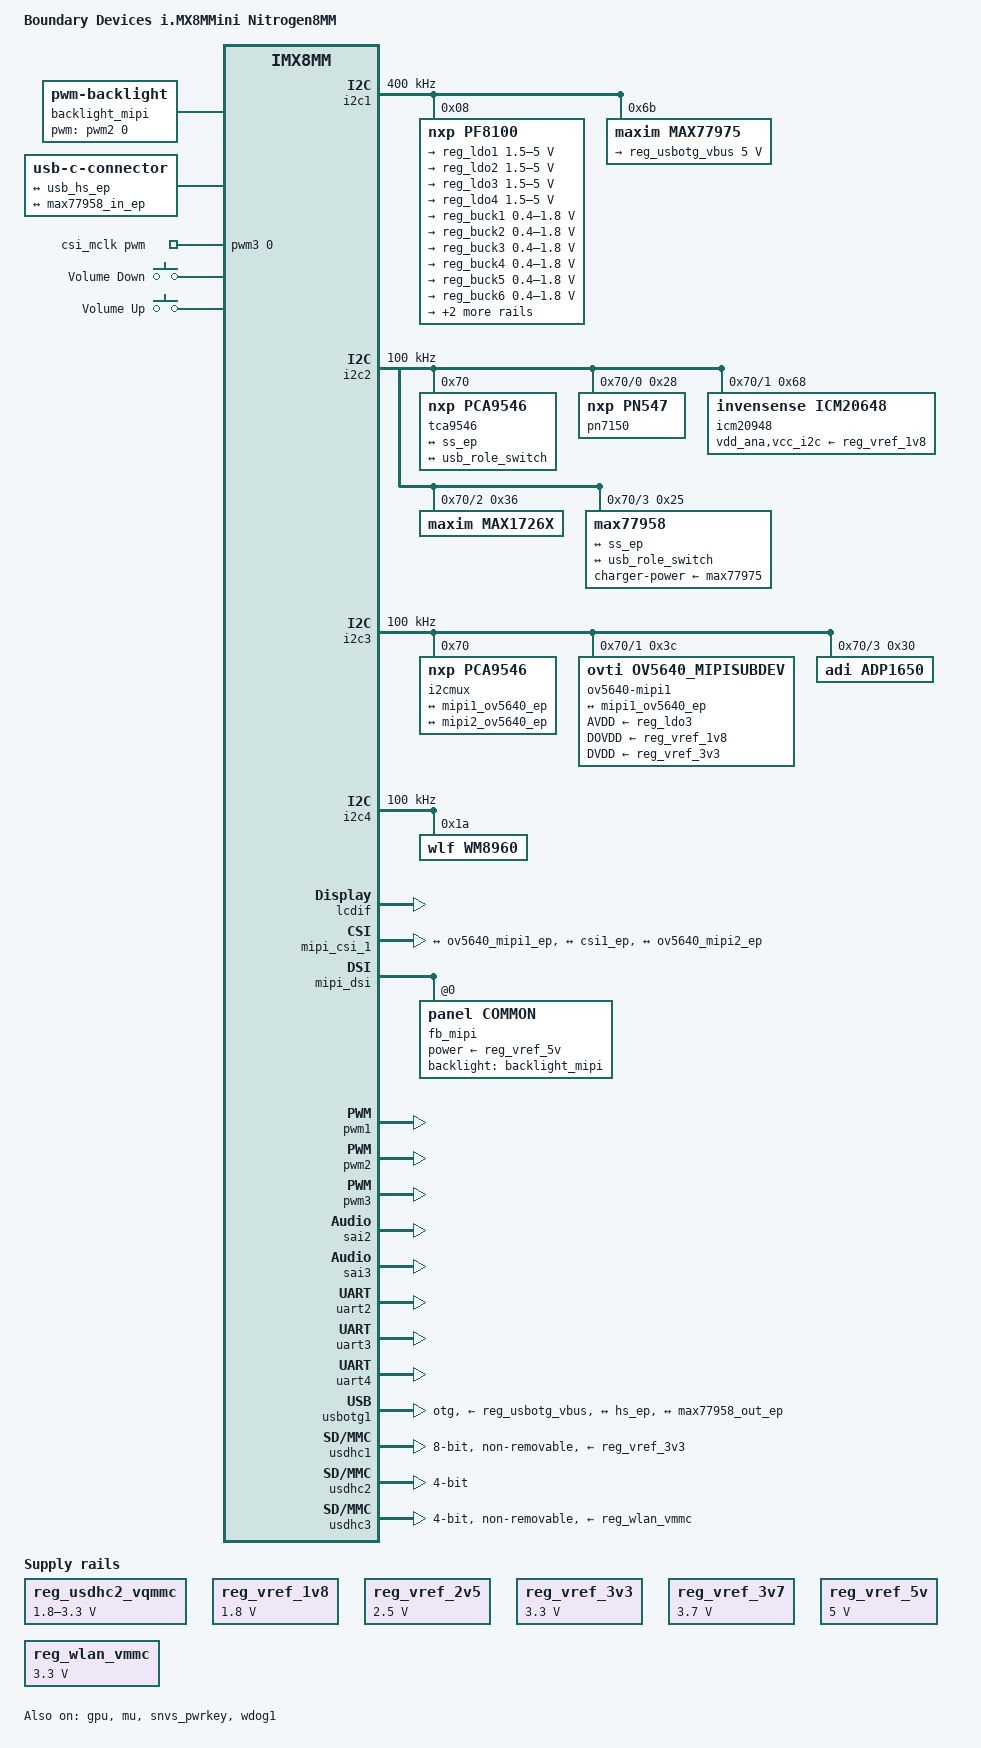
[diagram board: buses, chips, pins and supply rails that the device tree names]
// SPDX-License-Identifier: (GPL-2.0+ OR MIT)
/*
 * Copyright 2018 Boundary Devices
 */
#include "panel-ltk080a60a004t.dtsi"

&iomuxc {
	pinctrl-names = "default";
	pinctrl-0 = <&pinctrl_hog>;

	pinctrl_backlight_mipi: backlight-mipigrp {
		fsl,pins = <
#define GP_BACKLIGHT_MIPI_EN  <&gpio1 4 GPIO_ACTIVE_HIGH>
			MX8MMN(IOMUXC_GPIO1_IO04_GPIO1_IO4, 0x119)
		>;
	};

	pinctrl_bt_rfkill: bt-rfkillgrp {
		fsl,pins = <
#define GP_BT_RFKILL_RESET	<&gpio3 14 GPIO_ACTIVE_LOW>
			MX8MMN(IOMUXC_NAND_DQS_GPIO3_IO14, 0x119)
		>;
	};

	pinctrl_gpio_keys: gpio-keysgrp {
		fsl,pins = <
#define GP_GPIOKEY_VOL_DN	<&gpio4 29 GPIO_ACTIVE_LOW>
			MX8MMN(IOMUXC_SAI3_RXC_GPIO4_IO29, 0x1c3)
#define GP_GPIOKEY_VOL_UP	<&gpio4 28 GPIO_ACTIVE_LOW>
			MX8MMN(IOMUXC_SAI3_RXFS_GPIO4_IO28, 0x1c3)
		>;
	};

	pinctrl_hog: hoggrp {
		fsl,pins = <
			/* QCA9377 */
			MX8MMN(IOMUXC_SAI2_RXFS_GPIO4_IO21, 0x09)	/* pin 8, SDIO_INT_L */
			MX8MMN(IOMUXC_SAI5_MCLK_GPIO3_IO25, 0x09)	/* pin 38, CLK_REQ_OUT */
			MX8MMN(IOMUXC_SAI2_MCLK_GPIO4_IO27, 0x09)	/* pin 42, BT_UART_WH */

			MX8MMN(IOMUXC_SD1_STROBE_GPIO2_IO11, 0x09)	/* R160 */
			MX8MMN(IOMUXC_SD2_RESET_B_GPIO2_IO19, 0x09)	/* TP8 */
			MX8MMN(IOMUXC_SD2_WP_GPIO2_IO20, 0x09)		/* TP9 */
			MX8MMN(IOMUXC_SAI2_RXC_GPIO4_IO22, 0x09)	/* TP13 */
			MX8MMN(IOMUXC_GPIO1_IO11_GPIO1_IO11, 0x09)	/* TP18 */
			MX8MMN(IOMUXC_SAI5_RXD0_GPIO3_IO21, 0x09)	/* TP19 */
			MX8MMN(IOMUXC_SAI5_RXD1_GPIO3_IO22, 0x09)	/* TP31 */
		>;
	};

	pinctrl_i2c1: i2c1grp {
		fsl,pins = <
			MX8MMN(IOMUXC_I2C1_SCL_I2C1_SCL, 0x400001c3)
			MX8MMN(IOMUXC_I2C1_SDA_I2C1_SDA, 0x400001c3)
		>;
	};

	pinctrl_i2c1_1: i2c1_1grp {
		fsl,pins = <
#define GP_I2C1_SCL	<&gpio5 14 GPIO_OPEN_DRAIN>
			MX8MMN(IOMUXC_I2C1_SCL_GPIO5_IO14, 0x400001c3)
#define GP_I2C1_SDA	<&gpio5 15 GPIO_OPEN_DRAIN>
			MX8MMN(IOMUXC_I2C1_SDA_GPIO5_IO15, 0x400001c3)
		>;
	};

	pinctrl_i2c1_max77975: i2c1-max77975grp {
		fsl,pins = <
#define GPIRQ_MAX77975	<&gpio3 19 IRQ_TYPE_LEVEL_LOW>
			MX8MMN(IOMUXC_SAI5_RXFS_GPIO3_IO19, 0x1c9)
#define GP_DISABLE_BATT	<&gpio3 24 GPIO_ACTIVE_HIGH>
			MX8MMN(IOMUXC_SAI5_RXD3_GPIO3_IO24, 0x06)
#define GP_SUSPEND	<&gpio5 12 GPIO_ACTIVE_HIGH>
			MX8MMN(IOMUXC_ECSPI2_MISO_GPIO5_IO12, 0x06)
		>;
	};

	pinctrl_i2c1_pf8100: i2c1-pf8100grp {
		fsl,pins = <
#define GP_I2C1_PF8100_EWARN	<&gpio3 3 GPIO_ACTIVE_LOW>
			MX8MMN(IOMUXC_NAND_CE2_B_GPIO3_IO3, 0x149)
#define GP_I2C1_PF8100_FAULT	<&gpio3 4 GPIO_ACTIVE_LOW>
			MX8MMN(IOMUXC_NAND_CE3_B_GPIO3_IO4, 0x149)
		>;
	};

	pinctrl_i2c2: i2c2grp {
		fsl,pins = <
			MX8MMN(IOMUXC_I2C2_SCL_I2C2_SCL, 0x400001c3)
			MX8MMN(IOMUXC_I2C2_SDA_I2C2_SDA, 0x400001c3)
		>;
	};

	pinctrl_i2c2_1: i2c2_1grp {
		fsl,pins = <
#define GP_I2C2_SCL	<&gpio5 16 GPIO_OPEN_DRAIN>
			MX8MMN(IOMUXC_I2C2_SCL_GPIO5_IO16, 0x400001c3)
#define GP_I2C2_SDA	<&gpio5 17 GPIO_OPEN_DRAIN>
			MX8MMN(IOMUXC_I2C2_SDA_GPIO5_IO17, 0x400001c3)
		>;
	};

	pinctrl_i2c2_tca9546: i2c2-tca9546grp {
		fsl,pins = <
#define GP_I2C2_MUX_RESET	<&gpio5 11 GPIO_ACTIVE_LOW>
			MX8MMN(IOMUXC_ECSPI2_MOSI_GPIO5_IO11, 0x1c3)
		>;
	};

	pinctrl_i2c2a_pn7150: i2c2a-pn7150grp {
		fsl,pins = <
#define GP_EN_PN7150	<&gpio1 7 GPIO_ACTIVE_HIGH>
			MX8MMN(IOMUXC_GPIO1_IO07_GPIO1_IO7, 0x1c2)
#define GPIRQ_PN7150	<&gpio1 8 IRQ_TYPE_LEVEL_HIGH>
			MX8MMN(IOMUXC_GPIO1_IO08_GPIO1_IO8, 0x182)
		>;
	};

	pinctrl_i2c2b_icm_20948: i2c2b-icm-20948grp {
		fsl,pins = <
#define GPIRQ_ACCEL	<&gpio3 8 IRQ_TYPE_LEVEL_LOW>
			MX8MMN(IOMUXC_NAND_DATA02_GPIO3_IO8, 0x82)
		>;
	};

	pinctrl_i2c2c_max1726x: i2c2c-max1726xgrp {
		fsl,pins = <
#define GPIRQ_MAX1726X	<&gpio5 10 IRQ_TYPE_LEVEL_LOW>
			MX8MMN(IOMUXC_ECSPI2_SCLK_GPIO5_IO10, 0x1c3)
		>;
	};

	pinctrl_i2c2d_max77958: i2c2d-max77958grp {
		fsl,pins = <
#define GPIRQ_MAX77958	<&gpio3 5 IRQ_TYPE_LEVEL_LOW>
			MX8MMN(IOMUXC_NAND_CLE_GPIO3_IO5, 0x1c3)
		>;
	};

	pinctrl_i2c3: i2c3grp {
		fsl,pins = <
			MX8MMN(IOMUXC_I2C3_SCL_I2C3_SCL, 0x400001c3)
			MX8MMN(IOMUXC_I2C3_SDA_I2C3_SDA, 0x400001c3)
		>;
	};

	pinctrl_i2c3_1: i2c3_1grp {
		fsl,pins = <
#define GP_I2C3_SCL	<&gpio5 18 GPIO_OPEN_DRAIN>
			MX8MMN(IOMUXC_I2C3_SCL_GPIO5_IO18, 0x400001c3)
#define GP_I2C3_SDA	<&gpio5 19 GPIO_OPEN_DRAIN>
			MX8MMN(IOMUXC_I2C3_SDA_GPIO5_IO19, 0x400001c3)
		>;
	};

	pinctrl_i2c3_tca9546: i2c3-tca9546grp {
		fsl,pins = <
#define GP_I2C3_MUX_RESET	<&gpio5 13 GPIO_ACTIVE_LOW>
			MX8MMN(IOMUXC_ECSPI2_SS0_GPIO5_IO13, 0x1c3)
		>;
	};

	pinctrl_i2c3b_ov5640_mipi: i2c3b-ov5640-mipigrp {
		fsl,pins = <
#define GP_OV5640_1MIPI_POWER_DOWN	<&gpio3 9 GPIO_ACTIVE_HIGH>
			MX8MMN(IOMUXC_NAND_DATA03_GPIO3_IO9, 0x141)
#define GP_OV5640_1MIPI_RESET		<&gpio3 1 GPIO_ACTIVE_LOW>
			MX8MMN(IOMUXC_NAND_CE0_B_GPIO3_IO1, 0x101)
		>;
	};

	pinctrl_i2c3c_ov5640_mipi: i2c3c-ov5640-mipigrp {
		fsl,pins = <
#define GP_OV5640_2MIPI_POWER_DOWN	<&gpio3 16 GPIO_ACTIVE_HIGH>
			MX8MMN(IOMUXC_NAND_READY_B_GPIO3_IO16, 0x141)
#define GP_OV5640_2MIPI_RESET		<&gpio3 0 GPIO_ACTIVE_LOW>
			MX8MMN(IOMUXC_NAND_ALE_GPIO3_IO0, 0x101)
		>;
	};

	pinctrl_i2c3d_adp1650: i2c3d-adp1650grp {
		fsl,pins = <
#define GP_FLASH_EN		<&gpio1 10 GPIO_ACTIVE_HIGH>
			MX8MMN(IOMUXC_GPIO1_IO10_GPIO1_IO10, 0x1c3)
#define GP_TORCH_EN		<&gpio1 5 GPIO_ACTIVE_HIGH>
			MX8MMN(IOMUXC_GPIO1_IO05_GPIO1_IO5, 0x109)
		>;
	};

	pinctrl_i2c4: i2c4grp {
		fsl,pins = <
			MX8MMN(IOMUXC_I2C4_SCL_I2C4_SCL, 0x400001c3)
			MX8MMN(IOMUXC_I2C4_SDA_I2C4_SDA, 0x400001c3)
		>;
	};

	pinctrl_i2c4_1: i2c4_1grp {
		fsl,pins = <
#define GP_I2C4_SCL	<&gpio5 20 GPIO_OPEN_DRAIN>
			MX8MMN(IOMUXC_I2C4_SCL_GPIO5_IO20, 0x400001c3)
#define GP_I2C4_SDA	<&gpio5 21 GPIO_OPEN_DRAIN>
			MX8MMN(IOMUXC_I2C4_SDA_GPIO5_IO21, 0x400001c3)
		>;
	};

	pinctrl_mipi_ltk080a60a004t: mipi-ltk080a60a004tgrp {
		fsl,pins = <
#define GP_LTK08_MIPI_EN	<&gpio1 3 GPIO_ACTIVE_HIGH>
			MX8MMN(IOMUXC_GPIO1_IO03_GPIO1_IO3, 0x116)
		>;
	};

	pinctrl_pwm1: pwm1grp {
		fsl,pins = <
			MX8MMN(IOMUXC_SPDIF_EXT_CLK_PWM1_OUT, 0x16)
		>;
	};

	pinctrl_pwm2: pwm2grp {
		fsl,pins = <
			MX8MMN(IOMUXC_SPDIF_RX_PWM2_OUT, 0x16)
		>;
	};

	pinctrl_pwm3: pwm3grp {
		fsl,pins = <
			MX8MMN(IOMUXC_SPDIF_TX_PWM3_OUT, 0x16)
		>;
	};

	/* For EC21-ALCC modem */
	pinctrl_reg_3p7v: reg-3p7vgrp {
		fsl,pins = <
#define GP_REG_3P7V	<&gpio4 20 GPIO_ACTIVE_HIGH>
			MX8MMN(IOMUXC_SAI1_MCLK_GPIO4_IO20, 0x116)
		>;
	};

	pinctrl_reg_5v: reg_5vgrp {
		fsl,pins = <
#define GP_REG_5V_EN	<&gpio3 15 GPIO_ACTIVE_HIGH>
			MX8MMN(IOMUXC_NAND_RE_B_GPIO3_IO15, 0x16)
		>;
	};

	pinctrl_reg_usdhc2_vqmmc: reg_usdhc2_vqmmcgrp {
		fsl,pins = <
#define GP_USDHC2_VSEL	<&gpio3 2 GPIO_ACTIVE_HIGH>
			MX8MMN(IOMUXC_NAND_CE1_B_GPIO3_IO2, 0x16)
		>;
	};

	pinctrl_reg_wlan_vmmc: reg-wlan-vmmcgrp {
		fsl,pins = <
#define GP_REG_WLAN_VMMC	<&gpio3 20 GPIO_ACTIVE_HIGH>
			MX8MMN(IOMUXC_SAI5_RXC_GPIO3_IO20, 0x16)
		>;
	};

	pinctrl_sai2: sai2grp {
		fsl,pins = <
			/* Bluetooth PCM */
			MX8MMN(IOMUXC_SAI2_TXFS_SAI2_TX_SYNC, 0xd6)
			MX8MMN(IOMUXC_SAI2_TXC_SAI2_TX_BCLK, 0xd6)
			MX8MMN(IOMUXC_SAI2_TXD0_SAI2_TX_DATA0, 0xd6)
			MX8MMN(IOMUXC_SAI2_RXD0_SAI2_RX_DATA0, 0xd6)
		>;
	};

	pinctrl_sai3: sai3grp {
		fsl,pins = <
			/* WM8960 */
			MX8MMN(IOMUXC_SAI3_MCLK_SAI3_MCLK, 0xd6)
			MX8MMN(IOMUXC_SAI3_TXFS_SAI3_TX_SYNC, 0xd6)
			MX8MMN(IOMUXC_SAI3_TXC_SAI3_TX_BCLK, 0xd6)
			MX8MMN(IOMUXC_SAI3_TXD_SAI3_TX_DATA0, 0xd6)
			MX8MMN(IOMUXC_SAI3_RXD_SAI3_RX_DATA0, 0xd6)
		>;
	};

	pinctrl_sound_wm8960: sound-wm8960grp {
		fsl,pins = <
#define GP_WM8960_HP_DET		<&gpio1 1 GPIO_ACTIVE_HIGH>
			MX8MMN(IOMUXC_GPIO1_IO01_GPIO1_IO1, 0x80)
		>;
	};

	pinctrl_stusb4500: stusb4500grp {
		fsl,pins = <
#define GP_STUSB_ATTACH	<&gpio3 23 GPIO_ACTIVE_HIGH>
			MX8MMN(IOMUXC_SAI5_RXD2_GPIO3_IO23, 0x04)
#define GP_STUSB_ALERT	<&gpio1 15 GPIO_ACTIVE_HIGH>
			MX8MMN(IOMUXC_GPIO1_IO15_GPIO1_IO15, 0x04)
#define GP_STUSB_RESET	<&gpio1 14 GPIO_ACTIVE_HIGH>
			MX8MMN(IOMUXC_GPIO1_IO14_GPIO1_IO14, 0x04)
		>;
	};

	pinctrl_ts_gt911: ts-gt911grp {
		fsl,pins = <
#define GPIRQ_GT911		<&gpio3 6 IRQ_TYPE_LEVEL_HIGH>
#define GP_GT911_IRQ 		<&gpio3 6 GPIO_ACTIVE_HIGH>
			MX8MMN(IOMUXC_NAND_DATA00_GPIO3_IO6, 0x1d6)
			/* driver writes levels, instead of active/inactive */
#define GP_GT911_RESET		<&gpio3 7 GPIO_ACTIVE_HIGH>
			MX8MMN(IOMUXC_NAND_DATA01_GPIO3_IO7, 0x149)
		>;
	};

	pinctrl_uart2: uart2grp {
		fsl,pins = <
			MX8MMN(IOMUXC_UART2_RXD_UART2_DCE_RX, 0x140)
			MX8MMN(IOMUXC_UART2_TXD_UART2_DCE_TX, 0x140)
		>;
	};

	pinctrl_uart3: uart3grp {
		fsl,pins = <
			MX8MMN(IOMUXC_ECSPI1_SCLK_UART3_DCE_RX, 0x140)
			MX8MMN(IOMUXC_ECSPI1_MOSI_UART3_DCE_TX, 0x140)
			MX8MMN(IOMUXC_ECSPI1_SS0_UART3_DCE_RTS_B, 0x140)
			MX8MMN(IOMUXC_ECSPI1_MISO_UART3_DCE_CTS_B, 0x140)
		>;
	};

	pinctrl_uart4: uart4grp {
		fsl,pins = <
			MX8MMN(IOMUXC_UART4_RXD_UART4_DCE_RX, 0x140)
			MX8MMN(IOMUXC_UART4_TXD_UART4_DCE_TX, 0x140)
		>;
	};

	pinctrl_usbotg1: usbotg1grp {
		fsl,pins = <
			MX8MMN(IOMUXC_GPIO1_IO12_USB1_OTG_PWR, 0x16)
			MX8MMN(IOMUXC_GPIO1_IO13_USB1_OTG_OC, 0x156)
		>;
	};

	pinctrl_usdhc1: usdhc1grp {
		fsl,pins = <
			MX8MMN(IOMUXC_SD1_CLK_USDHC1_CLK, 0x190)
			MX8MMN(IOMUXC_SD1_CMD_USDHC1_CMD, 0x1d0)
			MX8MMN(IOMUXC_SD1_DATA0_USDHC1_DATA0, 0x1d0)
			MX8MMN(IOMUXC_SD1_DATA1_USDHC1_DATA1, 0x1d0)
			MX8MMN(IOMUXC_SD1_DATA2_USDHC1_DATA2, 0x1d0)
			MX8MMN(IOMUXC_SD1_DATA3_USDHC1_DATA3, 0x1d0)
			MX8MMN(IOMUXC_SD1_DATA4_USDHC1_DATA4, 0x1d0)
			MX8MMN(IOMUXC_SD1_DATA5_USDHC1_DATA5, 0x1d0)
			MX8MMN(IOMUXC_SD1_DATA6_USDHC1_DATA6, 0x1d0)
			MX8MMN(IOMUXC_SD1_DATA7_USDHC1_DATA7, 0x1d0)
#define GP_EMMC_RESET		<&gpio2 10 GPIO_ACTIVE_LOW>
			MX8MMN(IOMUXC_SD1_RESET_B_GPIO2_IO10, 0x141)
		>;
	};

	pinctrl_usdhc1_100mhz: usdhc1grp100mhz {
		fsl,pins = <
			MX8MMN(IOMUXC_SD1_CLK_USDHC1_CLK, 0x194)
			MX8MMN(IOMUXC_SD1_CMD_USDHC1_CMD, 0x1d4)
			MX8MMN(IOMUXC_SD1_DATA0_USDHC1_DATA0, 0x1d4)
			MX8MMN(IOMUXC_SD1_DATA1_USDHC1_DATA1, 0x1d4)
			MX8MMN(IOMUXC_SD1_DATA2_USDHC1_DATA2, 0x1d4)
			MX8MMN(IOMUXC_SD1_DATA3_USDHC1_DATA3, 0x1d4)
			MX8MMN(IOMUXC_SD1_DATA4_USDHC1_DATA4, 0x1d4)
			MX8MMN(IOMUXC_SD1_DATA5_USDHC1_DATA5, 0x1d4)
			MX8MMN(IOMUXC_SD1_DATA6_USDHC1_DATA6, 0x1d4)
			MX8MMN(IOMUXC_SD1_DATA7_USDHC1_DATA7, 0x1d4)
		>;
	};

	pinctrl_usdhc1_200mhz: usdhc1grp200mhz {
		fsl,pins = <
			MX8MMN(IOMUXC_SD1_CLK_USDHC1_CLK, 0x196)
			MX8MMN(IOMUXC_SD1_CMD_USDHC1_CMD, 0x1d6)
			MX8MMN(IOMUXC_SD1_DATA0_USDHC1_DATA0, 0x1d6)
			MX8MMN(IOMUXC_SD1_DATA1_USDHC1_DATA1, 0x1d6)
			MX8MMN(IOMUXC_SD1_DATA2_USDHC1_DATA2, 0x1d6)
			MX8MMN(IOMUXC_SD1_DATA3_USDHC1_DATA3, 0x1d6)
			MX8MMN(IOMUXC_SD1_DATA4_USDHC1_DATA4, 0x1d6)
			MX8MMN(IOMUXC_SD1_DATA5_USDHC1_DATA5, 0x1d6)
			MX8MMN(IOMUXC_SD1_DATA6_USDHC1_DATA6, 0x1d6)
			MX8MMN(IOMUXC_SD1_DATA7_USDHC1_DATA7, 0x1d6)
		>;
	};

	pinctrl_usdhc2: usdhc2grp {
		fsl,pins = <
			MX8MMN(IOMUXC_SD2_CLK_USDHC2_CLK, 0x190)
			MX8MMN(IOMUXC_SD2_CMD_USDHC2_CMD, 0x1d0)
			MX8MMN(IOMUXC_SD2_DATA0_USDHC2_DATA0, 0x1d0)
			MX8MMN(IOMUXC_SD2_DATA1_USDHC2_DATA1, 0x1d0)
			MX8MMN(IOMUXC_SD2_DATA2_USDHC2_DATA2, 0x1d0)
			MX8MMN(IOMUXC_SD2_DATA3_USDHC2_DATA3, 0x1d0)
#define GP_USDHC2_CD	<&gpio2 12 GPIO_ACTIVE_LOW>
			MX8MMN(IOMUXC_SD2_CD_B_GPIO2_IO12, 0x1c4)
		>;
	};

	pinctrl_usdhc2_100mhz: usdhc2grp100mhz {
		fsl,pins = <
			MX8MMN(IOMUXC_SD2_CLK_USDHC2_CLK, 0x194)
			MX8MMN(IOMUXC_SD2_CMD_USDHC2_CMD, 0x1d4)
			MX8MMN(IOMUXC_SD2_DATA0_USDHC2_DATA0, 0x1d4)
			MX8MMN(IOMUXC_SD2_DATA1_USDHC2_DATA1, 0x1d4)
			MX8MMN(IOMUXC_SD2_DATA2_USDHC2_DATA2, 0x1d4)
			MX8MMN(IOMUXC_SD2_DATA3_USDHC2_DATA3, 0x1d4)
		>;
	};

	pinctrl_usdhc2_200mhz: usdhc2grp200mhz {
		fsl,pins = <
			MX8MMN(IOMUXC_SD2_CLK_USDHC2_CLK, 0x196)
			MX8MMN(IOMUXC_SD2_CMD_USDHC2_CMD, 0x1d6)
			MX8MMN(IOMUXC_SD2_DATA0_USDHC2_DATA0, 0x1d6)
			MX8MMN(IOMUXC_SD2_DATA1_USDHC2_DATA1, 0x1d6)
			MX8MMN(IOMUXC_SD2_DATA2_USDHC2_DATA2, 0x1d6)
			MX8MMN(IOMUXC_SD2_DATA3_USDHC2_DATA3, 0x1d6)
		>;
	};

	pinctrl_usdhc3: usdhc3grp {
		fsl,pins = <
			MX8MMN(IOMUXC_NAND_WE_B_USDHC3_CLK, 0x190)
			MX8MMN(IOMUXC_NAND_WP_B_USDHC3_CMD, 0x1d0)
			MX8MMN(IOMUXC_NAND_DATA04_USDHC3_DATA0, 0x1d0)
			MX8MMN(IOMUXC_NAND_DATA05_USDHC3_DATA1, 0x1d0)
			MX8MMN(IOMUXC_NAND_DATA06_USDHC3_DATA2, 0x1d0)
			MX8MMN(IOMUXC_NAND_DATA07_USDHC3_DATA3, 0x1d0)
			/* Bluetooth slow clock */
			MX8MMN(IOMUXC_GPIO1_IO00_ANAMIX_REF_CLK_32K, 0x03)
		>;
	};

	pinctrl_usdhc3_100mhz: usdhc3grp100mhz {
		fsl,pins = <
			MX8MMN(IOMUXC_NAND_WE_B_USDHC3_CLK, 0x194)
			MX8MMN(IOMUXC_NAND_WP_B_USDHC3_CMD, 0x1d4)
			MX8MMN(IOMUXC_NAND_DATA04_USDHC3_DATA0, 0x1d4)
			MX8MMN(IOMUXC_NAND_DATA05_USDHC3_DATA1, 0x1d4)
			MX8MMN(IOMUXC_NAND_DATA06_USDHC3_DATA2, 0x1d4)
			MX8MMN(IOMUXC_NAND_DATA07_USDHC3_DATA3, 0x1d4)
		>;
	};

	pinctrl_usdhc3_200mhz: usdhc3grp200mhz {
		fsl,pins = <
			MX8MMN(IOMUXC_NAND_WE_B_USDHC3_CLK, 0x196)
			MX8MMN(IOMUXC_NAND_WP_B_USDHC3_CMD, 0x1d6)
			MX8MMN(IOMUXC_NAND_DATA04_USDHC3_DATA0, 0x1d6)
			MX8MMN(IOMUXC_NAND_DATA05_USDHC3_DATA1, 0x1d6)
			MX8MMN(IOMUXC_NAND_DATA06_USDHC3_DATA2, 0x1d6)
			MX8MMN(IOMUXC_NAND_DATA07_USDHC3_DATA3, 0x1d6)
		>;
	};

	pinctrl_wwan_rfkill: wwan-rfkillgrp {
		fsl,pins = <
			/* EC21 - Modem pins */
#define GP_EC21_RESET		<&gpio4 10 (GPIO_OPEN_DRAIN | GPIO_ACTIVE_LOW)>
			MX8MMN(IOMUXC_SAI1_TXFS_GPIO4_IO10, 0x140)
#define GP_EC21_USB_BOOT	<&gpio4 11 GPIO_ACTIVE_HIGH>
			MX8MMN(IOMUXC_SAI1_TXC_GPIO4_IO11 , 0x100)
#define GP_EC21_POWER_KEY	<&gpio4 18 GPIO_OPEN_DRAIN>
			MX8MMN(IOMUXC_SAI1_TXD6_GPIO4_IO18, 0x140)
#define GP_EC21_USIM_DETECT	<&gpio4 17 GPIO_ACTIVE_LOW>
			MX8MMN(IOMUXC_SAI1_TXD5_GPIO4_IO17, 0x100)
#define GP_EC21_WAKE_UP		<&gpio4 15 GPIO_ACTIVE_LOW>
			MX8MMN(IOMUXC_SAI1_TXD3_GPIO4_IO15, 0x100)
#define GP_EC21_AP_READY	<&gpio4 14 GPIO_ACTIVE_LOW>
			MX8MMN(IOMUXC_SAI1_TXD2_GPIO4_IO14, 0x100)
#define GP_EC21_ACTIVE_STATUS	<&gpio4 19 GPIO_ACTIVE_LOW>
			MX8MMN(IOMUXC_SAI1_TXD7_GPIO4_IO19, 0x1c0)
#define GP_EC21_NET_STAT	<&gpio4 12 GPIO_ACTIVE_HIGH>
			MX8MMN(IOMUXC_SAI1_TXD0_GPIO4_IO12, 0x80)
#define GP_EC21_NET_MODE	<&gpio4 13 GPIO_ACTIVE_HIGH>
			MX8MMN(IOMUXC_SAI1_TXD1_GPIO4_IO13, 0x80)
#define GP_EC21_RI		<&gpio4 16 GPIO_ACTIVE_HIGH>
			MX8MMN(IOMUXC_SAI1_TXD4_GPIO4_IO16, 0x80)
		>;
	};

	pinctrl_wdog: wdoggrp {
		fsl,pins = <
			MX8MMN(IOMUXC_GPIO1_IO02_WDOG1_WDOG_B, 0x140)
		>;
	};
};

/ {
	model = "Boundary Devices i.MX8MMini Nitrogen8MM";
	compatible = "boundary,imx8mm-nitrogen8mm", "fsl,imx8mm";

	aliases {
		a53 = &A53_0;
		backlight_mipi = &backlight_mipi;
		fb_mipi = &fb_mipi;
		lcdif = &lcdif;
		mipi = &fb_mipi;
		mipi_dsi = &mipi_dsi;
		pwm_mipi = &pwm2;
		pwm_mipi2 = &pwm1;
		t_mipi = &t_mipi;
		ts_goodix = &ts_goodix;
	};

	backlight_mipi: backlight-mipi {
		brightness-levels = <0 1 2 3 4 5 6 7 8 9 10>;
		compatible = "pwm-backlight";
		default-brightness-level = <8>;
		display = <&display_subsystem>;
		enable-gpios = GP_BACKLIGHT_MIPI_EN;
		pinctrl-names = "default";
		pinctrl-0 = <&pinctrl_backlight_mipi>;
		pwms = <&pwm2 0 30000>;		/* 33.3 Khz */
		status = "okay";
	};

	bt-rfkill {
		compatible = "net,rfkill-gpio";
		pinctrl-names = "default";
		pinctrl-0 = <&pinctrl_bt_rfkill>;
		name = "bt-rfkill";
		type = <2>; /* Bluetooth */
		reset-gpios = GP_BT_RFKILL_RESET;
		status = "okay";
	};

	connector {
		compatible = "usb-c-connector";
		label = "USB-C";
		data-role = "dual";

		ports {
			#address-cells = <1>;
			#size-cells = <0>;

			port@0 {
				reg = <0>;
				hs_ep: endpoint {
					remote-endpoint = <&usb_hs_ep>;
				};
			};

			port@1 {
				reg = <1>;
				ss_ep: endpoint {
					remote-endpoint = <&max77958_in_ep>;
				};
			};
		};
	};

	csi_mclk: csi-mclk {
		compatible = "pwm-clock";
		#clock-cells = <0>;
		clock-frequency = <20000000>;
		clock-output-names = "csi_mclk";
		pwms = <&pwm3 0 50>; /* 1 / 50 ns = 20 MHz */
	};

	gpio-keys {
		compatible = "gpio-keys";
		pinctrl-names = "default";
		pinctrl-0 = <&pinctrl_gpio_keys>;

		volume-down {
			label = "Volume Down";
			gpios = GP_GPIOKEY_VOL_DN;
			linux,code = <KEY_VOLUMEDOWN>;
		};

		volume-up {
			label = "Volume Up";
			gpios = GP_GPIOKEY_VOL_UP;
			linux,code = <KEY_VOLUMEUP>;
		};
	};

	reg_usdhc2_vqmmc: regulator-usdhc2-vqmmc {
		compatible = "regulator-gpio";
		pinctrl-names = "default";
		pinctrl-0 = <&pinctrl_reg_usdhc2_vqmmc>;
		regulator-name = "reg_sd2_vsel";
		regulator-min-microvolt = <1800000>;
		regulator-max-microvolt = <3300000>;
		regulator-type = "voltage";
		regulator-boot-on;
		regulator-always-on;
		gpios = GP_USDHC2_VSEL;
		states = <1800000 0x1
			  3300000 0x0>;
	};

	reg_vref_1v8: regulator-vref-1v8 {
		compatible = "regulator-fixed";
		regulator-name = "vref-1v8";
		regulator-min-microvolt = <1800000>;
		regulator-max-microvolt = <1800000>;
	};

	reg_vref_2v5: regulator-vref-2v5 {
		compatible = "regulator-fixed";
		regulator-name = "vref-2v5";
		regulator-min-microvolt = <2500000>;
		regulator-max-microvolt = <2500000>;
	};

	reg_vref_3v3: regulator-vref-3v3 {
		compatible = "regulator-fixed";
		regulator-name = "vref-3v3";
		regulator-min-microvolt = <3300000>;
		regulator-max-microvolt = <3300000>;
	};

	reg_vref_3v7: regulator-vref-3v7 {
		compatible = "regulator-fixed";
		pinctrl-names = "default";
		pinctrl-0 = <&pinctrl_reg_3p7v>;
		regulator-name = "ec21_3v7";
		regulator-min-microvolt = <3700000>;
		regulator-max-microvolt = <3700000>;
		startup-delay-us = <60000>;
		gpio = GP_REG_3P7V;
		enable-active-high;
	};

	reg_vref_5v: regulator-vref-5v {
		compatible = "regulator-fixed";
		pinctrl-names = "default";
		pinctrl-0 = <&pinctrl_reg_5v>;
		regulator-name = "vref-5v";
		regulator-min-microvolt = <5000000>;
		regulator-max-microvolt = <5000000>;
		gpio = GP_REG_5V_EN;
		enable-active-high;
		regulator-always-on;
	};

	reg_wlan_vmmc: regulator-wlan-vmmc {
		compatible = "regulator-fixed";
		pinctrl-names = "default";
		pinctrl-0 = <&pinctrl_reg_wlan_vmmc>;
		regulator-name = "reg_wlan_vmmc";
		regulator-min-microvolt = <3300000>;
		regulator-max-microvolt = <3300000>;
		gpio = GP_REG_WLAN_VMMC;
		startup-delay-us = <70000>;
		enable-active-high;
	};

	sound-wm8960 {
		audio-codec = <&wm8960>;
		audio-cpu = <&sai3>;
		audio-routing =
			"Headphone Jack", "HP_L",
			"Headphone Jack", "HP_R",
			"Ext Spk", "SPK_LP",
			"Ext Spk", "SPK_LN",
			"Ext Spk", "SPK_RP",
			"Ext Spk", "SPK_RN",
			"LINPUT1", "Mic Jack",
			"Mic Jack", "MICB",
			"RINPUT1", "Main MIC",
			"Main MIC", "MICB";
		codec-master;
		compatible = "fsl,imx-audio-wm8960";
		hp-det = <2 0>;
		hp-det-gpio = GP_WM8960_HP_DET;
		mic-det-gpio = GP_WM8960_HP_DET;
		model = "wm8960-audio";
		pinctrl-names = "default";
		pinctrl-0 = <&pinctrl_sound_wm8960>;
	};

	wwan_rfkill: wwan-rfkill {
		active-status-gpios = GP_EC21_ACTIVE_STATUS;
		compatible = "net,rfkill-gpio";
#if 1
		low-gpios = GP_EC21_USB_BOOT;
		high-gpios = GP_EC21_USIM_DETECT,GP_EC21_WAKE_UP,GP_EC21_AP_READY;
#else
		high-gpios = GP_EC21_USB_BOOT,GP_EC21_USIM_DETECT,GP_EC21_WAKE_UP,GP_EC21_AP_READY;
#endif
		name = "wwan-rfkill";
		pinctrl-names = "default";
		pinctrl-0 = <&pinctrl_wwan_rfkill>;
		power-key-low-off = <700>;
		power-key-low-on = <550>;
		power-key-gpios = GP_EC21_POWER_KEY;
		reset-gpios = GP_EC21_RESET;
		status = "okay";
		type = <5>;     /* WWAN */
		vdd-supply = <&reg_vref_3v7>;
	};
};

&A53_0 {
	cpu-supply = <&reg_buck3>;
};

&gpu {
	status = "okay";
};

&i2c1 {
	clock-frequency = <400000>;
	pinctrl-names = "default", "gpio";
	pinctrl-0 = <&pinctrl_i2c1>;
	pinctrl-1 = <&pinctrl_i2c1_1>;
	scl-gpios = GP_I2C1_SCL;
	sda-gpios = GP_I2C1_SDA;
	status = "okay";

	pf8100@8 {
		compatible = "nxp,pf8100";
		pinctrl-names = "default";
		pinctrl-0 = <&pinctrl_i2c1_pf8100>;
		reg = <0x08>;

		regulators {
			reg_ldo1: ldo1 {
				regulator-always-on;
				regulator-boot-on;
				regulator-max-microvolt = <5000000>;
				regulator-min-microvolt = <1500000>;
			};

			reg_ldo2: ldo2 {
				regulator-always-on;
				regulator-boot-on;
				regulator-max-microvolt = <5000000>;
				regulator-min-microvolt = <1500000>;
				/* vselect low is 3.3V, high is 1.8V */
				vselect-en;
			};

			reg_ldo3: ldo3 {
				regulator-always-on;
				regulator-boot-on;
				regulator-max-microvolt = <5000000>;
				regulator-min-microvolt = <1500000>;
			};

			reg_ldo4: ldo4 {
				regulator-always-on;
				regulator-boot-on;
				regulator-max-microvolt = <5000000>;
				regulator-min-microvolt = <1500000>;
			};

			reg_buck1: buck1 {
				nxp,phase-shift = <0>;
				regulator-max-microamp = <4500000>;
				regulator-always-on;
				regulator-boot-on;
				regulator-max-microvolt = <1800000>;
				regulator-min-microvolt =  <400000>;
			};

			reg_buck2: buck2 {
				regulator-always-on;
				regulator-boot-on;
				regulator-max-microvolt = <1800000>;
				regulator-min-microvolt =  <400000>;
			};

			reg_buck3: buck3 {
				regulator-always-on;
				regulator-boot-on;
				regulator-max-microvolt = <1800000>;
				regulator-min-microvolt =  <400000>;
				fast-slew = <1>;
			};

			reg_buck4: buck4 {
				alias = <&reg_buck4>;
				regulator-always-on;
				regulator-boot-on;
				regulator-max-microvolt = <1800000>;
				regulator-min-microvolt =  <400000>;
				fast-slew = <1>;
			};

			reg_buck5: buck5 {
				regulator-always-on;
				regulator-boot-on;
				regulator-max-microvolt = <1800000>;
				regulator-min-microvolt =  <400000>;
			};

			reg_buck6: buck6 {
				regulator-always-on;
				regulator-boot-on;
				regulator-max-microvolt = <1800000>;
				regulator-min-microvolt =  <400000>;
			};

			reg_buck7: buck7 {
				regulator-always-on;
				regulator-boot-on;
				regulator-max-microvolt = <4100000>;
				regulator-min-microvolt = <1000000>;
			};

			reg_vsnvs: vsnvs {
				regulator-always-on;
				regulator-boot-on;
				regulator-max-microvolt = <3300000>;
				regulator-min-microvolt = <1800000>;
			};
		};
	};

	max77975: max77975@6b {
		compatible = "maxim,max77975";
		reg = <0x6b>;
		pinctrl-names = "default";
		pinctrl-0 = <&pinctrl_i2c1_max77975>;
		interrupts-extended = GPIRQ_MAX77975;
		input-voltage-min-microvolt = <4500000>;
		input-current-limit-microamp = <3200000>;
		suspend-gpios = GP_SUSPEND;
		disbatt-gpios = GP_DISABLE_BATT;

		regulators {
			reg_usbotg_vbus: otg {
				regulator-min-microvolt = <5000000>;
				regulator-max-microvolt = <5000000>;
			};
		};
	};
};

&i2c2 {
	clock-frequency = <100000>;
	pinctrl-names = "default", "gpio";
	pinctrl-0 = <&pinctrl_i2c2>;
	pinctrl-1 = <&pinctrl_i2c2_1>;
	scl-gpios = GP_I2C2_SCL;
	sda-gpios = GP_I2C2_SDA;
	status = "okay";

	tca9546: i2cmux9546@70 {
		compatible = "nxp,pca9546";
		pinctrl-names = "default";
		pinctrl-0 = <&pinctrl_i2c2_tca9546>;
		reg = <0x70>;
		reset-gpios = GP_I2C2_MUX_RESET;
		status = "okay";
		#address-cells = <1>;
		#size-cells = <0>;

		i2c2a: i2c2@0 {
			clock-frequency = <100000>;
			reg = <0>;
			#address-cells = <1>;
			#size-cells = <0>;
		};

		i2c2b: i2c2@1 {
			clock-frequency = <100000>;
			reg = <1>;
			#address-cells = <1>;
			#size-cells = <0>;
		};

		i2c2c: i2c2@2 {
			clock-frequency = <100000>;
			reg = <2>;
			#address-cells = <1>;
			#size-cells = <0>;
		};

		i2c2d: i2c2@3 {
			clock-frequency = <100000>;
			reg = <3>;
			#address-cells = <1>;
			#size-cells = <0>;
		};
	};
};

&i2c2a {
	pn7150@28 {
		compatible = "nxp,pn547";
		reg = <0x28>;
		pinctrl-names = "default";
		pinctrl-0 = <&pinctrl_i2c2a_pn7150>;
		interrupt-gpios = GPIRQ_PN7150;
		enable-gpios = GP_EN_PN7150;
	};
};

&i2c2b {
	/* Invensense */
	icm20948@68 {
		compatible = "invensense,icm20648";
		reg = <0x68>;
		interrupts-extended = GPIRQ_ACCEL;
		pinctrl-names = "default";
		pinctrl-0 = <&pinctrl_i2c2b_icm_20948>;
		inven,vdd_ana-supply = <&reg_vref_1v8>;
		inven,vcc_i2c-supply = <&reg_vref_1v8>;
		fs_range = <0x00>;
		axis_map_x = <0>;
		axis_map_y = <1>;
		axis_map_z = <2>;
		negate_x = <0>;
		negate_y = <0>;
		negate_z = <0>;
		poll_interval = <200>;
		min_interval = <5>;
		inven,secondary_reg = <0x0c>;
		inven,secondary_type = "compass";
		inven,secondary_name = "ak09916";
		inven,secondary_axis_map_x = <0>;
		inven,secondary_axis_map_y = <1>;
		inven,secondary_axis_map_z = <2>;
		inven,secondary_negate_x = <0>;
		inven,secondary_negate_y = <1>;
		inven,secondary_negate_z = <1>;
		inven,aux_type = "none";
		inven,read_only_slave_type = "none";
	};
};

&i2c2c {
	max1726x@36 {
		compatible  = "maxim,max1726x";
		reg = <0x36>;
		interrupts-extended = GPIRQ_MAX1726X;
		pinctrl-names = "default";
		pinctrl-0 = <&pinctrl_i2c2c_max1726x>;
		rsense = <10>;         /* milliOhm */
		model-option = <1>;    /* EZ model */
		talrt-min = <0>;       /* DegreeC */
		talrt-max = <65>;      /* DegreeC */
		valrt-min = <3200>;    /* mV */
		valrt-max = <4500>;    /* mV */
		salrt-min = <1>;       /* Percent */
		salrt-max = <99>;      /* Percent */
		ialrt-min = <(-5000)>; /* mA */
		ialrt-max = <5000>;    /* mA */
		/* EZ model parameters */
		designcap = /bits/ 16 <0x2260>; /* 8800 mAh */
		ichgterm = /bits/ 16 <0x0640>;
		vempty = /bits/ 16 <0x9652>; /* VE: 3000mV VR: 3300mV */
		vcharge = <4300>; /* mV */
	};
};

&i2c2d {
	max77958@25 {
		compatible = "max77958";
		reg = <0x25>;
		pinctrl-names = "default";
		pinctrl-0 = <&pinctrl_i2c2d_max77958>;
		interrupts-extended = GPIRQ_MAX77958;
		charger-power-supply = <&max77975>;

		ports {
			#address-cells = <1>;
			#size-cells = <0>;

			port@0 {
				reg = <0>;
				max77958_in_ep: endpoint {
					remote-endpoint = <&ss_ep>;
				};
			};

			port@1 {
				reg = <1>;
				max77958_out_ep: endpoint {
					remote-endpoint = <&usb_role_switch>;
				};
			};
		};
	};
};

&i2c3 {
	clock-frequency = <100000>;
	pinctrl-names = "default", "gpio";
	pinctrl-0 = <&pinctrl_i2c3>;
	pinctrl-1 = <&pinctrl_i2c3_1>;
	scl-gpios = GP_I2C3_SCL;
	sda-gpios = GP_I2C3_SDA;
	status = "okay";

	i2cmux@70 {
		compatible = "nxp,pca9546";
		pinctrl-names = "default";
		pinctrl-0 = <&pinctrl_i2c3_tca9546>;
		reg = <0x70>;
		reset-gpios = GP_I2C3_MUX_RESET;
		#address-cells = <1>;
		#size-cells = <0>;

		i2c3a: i2c3@0 {
			/* touch */
			reg = <0>;
			#address-cells = <1>;
			#size-cells = <0>;
		};

		i2c3b: i2c3@1 {
			/* CSI */
			reg = <1>;
			#address-cells = <1>;
			#size-cells = <0>;
		};

		i2c3c: i2c3@2 {
			/* CSI */
			reg = <2>;
			#address-cells = <1>;
			#size-cells = <0>;
		};

		i2c3d: i2c3@3 {
			/* Flash */
			reg = <3>;
			#address-cells = <1>;
			#size-cells = <0>;
		};
	};
};

&i2c3a {
	ts_goodix: touchscreen@5d {
		compatible = "goodix,gt9271";
		display = <&display_subsystem>;
		esd-recovery-timeout-ms = <2000>;
		interrupts-extended = GPIRQ_GT911;
		irq-gpios = GP_GT911_IRQ;
		pinctrl-names = "default";
		pinctrl-0 = <&pinctrl_ts_gt911>;
		reg = <0x5d>;
		reset-gpios = GP_GT911_RESET;
		status = "disabled";
	};
};

&i2c3b {
	ov5640-mipi1@3c {
		AVDD-supply = <&reg_ldo3>;
		DOVDD-supply = <&reg_vref_1v8>;
		DVDD-supply = <&reg_vref_3v3>;
		clocks = <&csi_mclk>;
		clock-names = "xclk";
		compatible = "ovti,ov5640_mipisubdev";
		csi_id = <0>;
		mclk = <20000000>;
		mipi_csi;
		pinctrl-names = "default";
		pinctrl-0 = <&pinctrl_i2c3b_ov5640_mipi>;
		powerdown-gpios = GP_OV5640_1MIPI_POWER_DOWN;
		reg = <0x3c>;
		reset-gpios = GP_OV5640_1MIPI_RESET;
		status = "okay";

		port {
			ov5640_mipi1_ep: endpoint {
				remote-endpoint = <&mipi1_ov5640_ep>;
			};
		};
	};
};

&i2c3c {
	ov5640-mipi2@3c {
		AVDD-supply = <&reg_ldo3>;
		DOVDD-supply = <&reg_vref_1v8>;
		DVDD-supply = <&reg_vref_3v3>;
		clocks = <&csi_mclk>;
		clock-names = "xclk";
		compatible = "ovti,ov5640_mipisubdev";
		csi_id = <0>;
		mclk = <20000000>;
		mipi_csi;
		pinctrl-names = "default";
		pinctrl-0 = <&pinctrl_i2c3c_ov5640_mipi>;
		powerdown-gpios = GP_OV5640_2MIPI_POWER_DOWN;
		reg = <0x3c>;
		reset-gpios = GP_OV5640_2MIPI_RESET;
		status = "disabled";

		port {
			ov5640_mipi2_ep: endpoint {
				remote-endpoint = <&mipi2_ov5640_ep>;
			};
		};
	};
};

&i2c3d {
	adp1650@30 {
		compatible = "adi,adp1650";
		pinctrl-names = "default";
		pinctrl-0 = <&pinctrl_i2c3d_adp1650>;
		reg = <0x30>;
		enable-gpios = GP_FLASH_EN;
		torch-gpios = GP_TORCH_EN;
	};
};

&i2c4 {
	clock-frequency = <100000>;
	pinctrl-names = "default", "gpio";
	pinctrl-0 = <&pinctrl_i2c4>;
	pinctrl-1 = <&pinctrl_i2c4_1>;
	scl-gpios = GP_I2C4_SCL;
	sda-gpios = GP_I2C4_SDA;
	status = "okay";

	wm8960: codec@1a {
		clock-names = "mclk";
		clocks = <&clk IMX8MMN(CLK_SAI3_ROOT)>;
		compatible = "wlf,wm8960";
		reg = <0x1a>;
		wlf,gpio-cfg = <1 3>;
		/* JD2: hp detect high for headphone*/
		wlf,hp-cfg = <2 0 3>;
		wlf,shared-lrclk;
	};
};


&lcdif {
	status = "okay";
};

&mipi_csi_1 {
	#address-cells = <1>;
	#size-cells = <0>;
	status = "okay";
	port {
		mipi1_ov5640_ep: endpoint@1 {
			remote-endpoint = <&ov5640_mipi1_ep>;
			data-lanes = <2>;
			csis-hs-settle = <13>;
			csis-clk-settle = <2>;
			csis-wclk;
		};

		csi1_mipi_ep: endpoint@2 {
			remote-endpoint = <&csi1_ep>;
		};

		mipi2_ov5640_ep: endpoint@3 {
			remote-endpoint = <&ov5640_mipi2_ep>;
			data-lanes = <2>;
			csis-hs-settle = <13>;
			csis-clk-settle = <2>;
			csis-wclk;
		};
	};
};

&mipi_dsi {
	assigned-clocks = <&clk IMX8MMN(CLK_DSI_CORE)>,
			  <&clk IMX8MMN(CLK_DSI_PHY_REF)>,
			  <&clk IMX8MMN(VIDEO_PLL1_REF_SEL)>,
			  <&clk IMX8MMN(CLK_LCDIF_PIXEL)>;
	assigned-clock-parents = <&clk IMX8MMN(SYS_PLL1_266M)>,
				 <&clk IMX8MMN(VIDEO_PLL1_OUT)>,
				 <&clk IMX8MMN(CLK_24M)>;
	assigned-clock-rates = <266000000>, <0>, <0>, <66000000>;

	clocks = <&clk IMX8MMN(CLK_DSI_CORE)>,
		 <&clk IMX8MMN(CLK_DSI_PHY_REF)>,
		 <&clk IMX8MMN(CLK_LCDIF_PIXEL)>;
	clock-names = "cfg", "pll-ref", "pixel_clock";
	status = "okay";

	fb_mipi: panel@0 {
		backlight = <&backlight_mipi>;
		bits-per-color = <8>;
		bridge-de-active = <0>;
		bus-format = "rgb888";
		clocks = <&mipi_dsi 0>,
			<&clk IMX8MMN(CLK_LCDIF_PIXEL)>;
		clock-names = "mipi_clk", "pixel_clock";
		compatible = "panel,common";
		dsi-format = "rgb888";
		dsi-lanes = <4>;
		/* u-boot will set this where appropriate */
		enable-gpios = GP_LTK08_MIPI_EN;
		mipi-cmds = <&mipi_cmds_ltk080a60a004t>;
		mode-skip-eot;
		mode-video;
#if 1
		mode-video-burst;
#else
		mode-video-sync-pulse;
#endif
		panel-height-mm = <136>;
		panel-width-mm = <217>;
		power-supply = <&reg_vref_5v>;
		reg = <0>;
		spwg;

		display-timings {
			t_mipi: t-dsi-default {
				/* m101nwwb by default */
				clock-frequency = <66000000>;
				hactive = <1280>;
				vactive = <800>;
				hback-porch = <5>;
				hfront-porch = <123>;
				vback-porch = <3>;
				vfront-porch = <24>;
				hsync-len = <1>;
				vsync-len = <1>;
				hsync-active = <0>;
				vsync-active = <0>;
				de-active = <1>;
			};
		};
	};
};

&mu {
	status = "okay";
};

&pwm1 {
	pinctrl-names = "default";
	pinctrl-0 = <&pinctrl_pwm1>;
	status = "okay";
};

&pwm2 {
	assigned-clocks = <&clk IMX8MMN(CLK_PWM2)>;
	assigned-clock-parents = <&clk IMX8MMN(SYS_PLL1_40M)>;
	assigned-clock-rates = <40000000>;
	pinctrl-names = "default";
	pinctrl-0 = <&pinctrl_pwm2>;
	status = "okay";
};

&pwm3 {
	pinctrl-names = "default";
	pinctrl-0 = <&pinctrl_pwm3>;
	status = "okay";
};

&sai2 {
	pinctrl-names = "default";
	pinctrl-0 = <&pinctrl_sai2>;
	status = "okay";
};

&sai3 {
	assigned-clocks = <&clk IMX8MMN(CLK_SAI3)>;
	assigned-clock-parents = <&clk IMX8MMN(AUDIO_PLL1_OUT)>;
	assigned-clock-rates = <12288000>;
	pinctrl-names = "default";
	pinctrl-0 = <&pinctrl_sai3>;
	status = "okay";
};

&snvs_pwrkey {
	status = "okay";
};

&uart2 { /* console */
	pinctrl-names = "default";
	pinctrl-0 = <&pinctrl_uart2>;
	assigned-clocks = <&clk IMX8MMN(CLK_UART2)>;
	assigned-clock-parents = <&clk IMX8MMN(CLK_24M)>;
	status = "okay";
};

&uart3 { /* J15 */
	pinctrl-names = "default";
	pinctrl-0 = <&pinctrl_uart3>;
	assigned-clocks = <&clk IMX8MMN(CLK_UART3)>;
	assigned-clock-parents = <&clk IMX8MMN(SYS_PLL1_80M)>;
	uart-has-rtscts;
	status = "okay";
};

&uart4 { /* scanner */
	pinctrl-names = "default";
	pinctrl-0 = <&pinctrl_uart4>;
	assigned-clocks = <&clk IMX8MMN(CLK_UART4)>;
	assigned-clock-parents = <&clk IMX8MMN(CLK_24M)>;
	status = "okay";
};

&usbotg1 {
	dr_mode = "otg";
	over-current-active-low;
	pinctrl-names = "default";
	pinctrl-0 = <&pinctrl_usbotg1>;
	power-active-high;
	status = "okay";
	usb-role-switch;
	vbus-supply = <&reg_usbotg_vbus>;

	ports {
		#address-cells = <1>;
		#size-cells = <0>;

		port@0 {
			reg = <0>;
			usb_hs_ep: endpoint {
				remote-endpoint = <&hs_ep>;
			};
		};

		port@1 {
			reg = <1>;
			usb_role_switch: endpoint {
				remote-endpoint = <&max77958_out_ep>;
			};
		};
	};
};

&usdhc1 {
	bus-width = <8>;
	no-mmc-hs400;
	non-removable;
	pinctrl-names = "default", "state_100mhz", "state_200mhz";
	pinctrl-0 = <&pinctrl_usdhc1>;
	pinctrl-1 = <&pinctrl_usdhc1_100mhz>;
	pinctrl-2 = <&pinctrl_usdhc1_200mhz>;
	reset-gpios = GP_EMMC_RESET;
	status = "okay";
	vmmc-supply = <&reg_vref_3v3>;
	vqmmc-1-8-v;
	vqmmc-supply = <&reg_vref_1v8>;
};

&usdhc2 {
	bus-width = <4>;
	cd-gpios = GP_USDHC2_CD;
	pinctrl-names = "default", "state_100mhz", "state_200mhz";
	pinctrl-0 = <&pinctrl_usdhc2>;
	pinctrl-1 = <&pinctrl_usdhc2_100mhz>;
	pinctrl-2 = <&pinctrl_usdhc2_200mhz>;
	status = "okay";
	vqmmc-supply = <&reg_ldo2>;
};

&usdhc3 {
	bus-width = <4>;
	fsl,sdio-async-interrupt-enabled;
	keep-power-in-suspend;
	no-sd-uhs-sdr104;
	non-removable;
	pinctrl-names = "default", "state_100mhz", "state_200mhz";
	pinctrl-0 = <&pinctrl_usdhc3>;
	pinctrl-1 = <&pinctrl_usdhc3_100mhz>;
	pinctrl-2 = <&pinctrl_usdhc3_200mhz>;
	pm-ignore-notify;
	status = "okay";
	vmmc-supply = <&reg_wlan_vmmc>;
	vqmmc-1-8-v;
	vqmmc-supply = <&reg_vref_1v8>;
};

&wdog1 {
	pinctrl-names = "default";
	pinctrl-0 = <&pinctrl_wdog>;
	fsl,ext-reset-output;
	status = "okay";
};
